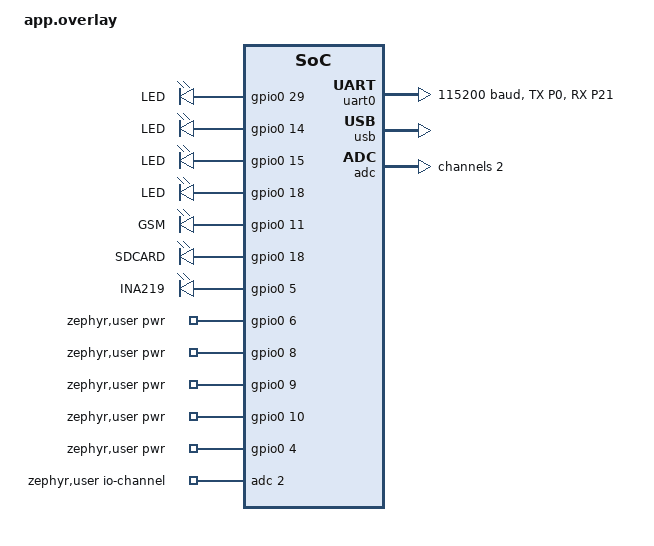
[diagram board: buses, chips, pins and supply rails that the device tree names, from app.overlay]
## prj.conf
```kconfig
# Copyright (c) 2022 Mr. Green's Workshop https://www.MrGreensWorkshop.com
# SPDX-License-Identifier: Apache-2.0

# Enable USB stack!!!!!!
# CONFIG_USB_DEVICE_STACK=y

# Enable USB Initialize at boot!!!!!!!
# CONFIG_USB_DEVICE_INITIALIZE_AT_BOOT=y

# USB device descriptors!!!!!!!!!!!
# CONFIG_USB_DEVICE_VID=0x2e8a
# CONFIG_USB_DEVICE_PID=0x000a
# CONFIG_USB_DEVICE_PRODUCT="Pico"
# CONFIG_USB_DEVICE_MANUFACTURER="Raspberry Pi"

# USB configuration descriptors
# To avoid draining the tablet's battery. PicoDRO is designed as a self-powered USB device.
# To do so, D1 is removed from the Raspberry Pi Pico and power is supplied from the VSYS pin.
# That's why, when using the PicoDRO hardware, it should be set as a self-powered USB device.

# Set to "n" for bus-powered devices (powered from the USB host) like the Raspberry Pi Pico.
# Set to "y" for self-powered devices (powered from an external power supply) like PicoDRO hardware.
# !!!!!!!!!
# CONFIG_USB_SELF_POWERED=y

# Depending on your hardware Maximum power consumption needs to be set.
# Set to "125" (250 mA) for the Raspberry Pi Pico (if there is no other external circuitry).
# Set to "1" (2 mA) for the PicoDRO hardware

# Maximum power consumption in 2 mA units
CONFIG_USB_MAX_POWER=250

# Copyright (c) 2022 Mr. Green's Workshop https://www.MrGreensWorkshop.com
# SPDX-License-Identifier: Apache-2.0

# Logging!!!!!!!!!!!
CONFIG_LOG=y
CONFIG_CONSOLE=y
CONFIG_SERIAL=y
CONFIG_EARLY_CONSOLE=y
# CONFIG_UART_CONSOLE=n

# Disable color codes on log output
CONFIG_LOG_BACKEND_SHOW_COLOR=y

# Set application log level
# CONFIG_MAIN_LOG_LEVEL_OFF=y   # Off
# CONFIG_MAIN_LOG_LEVEL_ERR=y   # Error
# CONFIG_MAIN_LOG_LEVEL_WRN=y   # Warning
# CONFIG_MAIN_LOG_LEVEL_INF=y   # Info
# CONFIG_MAIN_LOG_LEVEL_DBG=y

#CONFIG_LOG_DEFAULT_LEVEL=3

# Set USB log level
# CONFIG_USB_DRIVER_LOG_LEVEL_ERR=y
# CONFIG_USB_DEVICE_LOG_LEVEL_ERR=y

# Even before the USB serial port is opened at the host, log messages are pushed to the log buffer, then pushed to the USB CDC ACM ring buffer.
# This causes the ring buffer to overflow, and as a result, it adds a new log message saying the "Ring buffer full, drain buffer".
# It creates an endless loop that reproduces the same log message. This causes connection problems, like preventing the port from opening.
# Ring buffer full, drain buffer" log message still exists even if DTR line control is enabled. That's why we set the log level to error.
# Set USB CDC ACM log level
# CONFIG_USB_CDC_ACM_LOG_LEVEL_ERR=y

# Enable DTR line control for logging when using USB CDC ACM.
CONFIG_UART_LINE_CTRL=y

# Debugger
CONFIG_DEBUG=y
CONFIG_DEBUG_OPTIMIZATIONS=y

#CONFIG_FLASH=y
#CONFIG_FLASH_PAGE_LAYOUT=y
#CONFIG_FLASH_MAP=y

#CONFIG_SETTINGS=y
#CONFIG_SETTINGS_RUNTIME=y
#CONFIG_NVS=y
#CONFIG_SETTINGS_NVS=y

#CONFIG_FLASH_LOG_LEVEL_DBG=y
# !!!!!!!!!!
CONFIG_SERIAL=y
CONFIG_CONSOLE=y
CONFIG_LOG_MODE_IMMEDIATE=y
CONFIG_UART_CONSOLE=y
CONFIG_UART_LINE_CTRL=y

# CONFIG_ADC=y
# CONFIG_ADC_ASYNC=n
# CONFIG_HEAP_MEM_POOL_SIZE=4096

# CONFIG_RING_BUFFER=y
# CONFIG_UART_INTERRUPT_DRIVEN=y

# CONFIG_PM=y
# CONFIG_PM_DEVICE=n
# CONFIG_PM_DEVICE_RUNTIME=n
# CONFIG_HWINFO=y
# CONFIG_POWEROFF=y

CONFIG_REBOOT=y
```

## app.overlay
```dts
/ {
        chosen {
                zephyr,console = &uart0;
                // uart,passthrough = &uart0;
        };

        leds {
                compatible = "gpio-leds";
                led0: led_0 {
                        gpios = <&gpio0 29 GPIO_ACTIVE_HIGH>;
                        label = "LED";
                };
                led1: led_1 {
                        gpios = <&gpio0 14 GPIO_ACTIVE_HIGH>;
                        label = "LED";
                };
                led2: led_2 {
                        gpios = <&gpio0 15 GPIO_ACTIVE_HIGH>;
                        label = "LED";
                };
                ledold: ledold {
                        gpios = <&gpio0 18 GPIO_ACTIVE_HIGH>;
                        label = "LED";
                };
        };

        pwr_control {
                compatible = "gpio-leds";
                gsm: gsm {
                        gpios = <&gpio0 11 GPIO_ACTIVE_HIGH>;
                        label = "GSM";
                };
                sd: sd {
                        gpios = <&gpio0 18 GPIO_ACTIVE_HIGH>;
                        label = "SDCARD";
                };
                ina: ina {
                        gpios = <&gpio0 5 GPIO_ACTIVE_HIGH>;
                        label = "INA219";
                };
        };

        // wakeup {
                //         rtc_irq: rtc_irq {
                        //                 compatible = "wakeup";
                        //                 gpios = <&gpio0 25 GPIO_ACTIVE_LOW>;
                        //                 label = "RTCIRQ";
                //         };
        // };

        zephyr,user {
                io-channels = <&adc 2>;
                pwr-gpios = <&gpio0 6 GPIO_ACTIVE_HIGH>,
                            <&gpio0 8 GPIO_ACTIVE_HIGH>,
                            <&gpio0 9 GPIO_ACTIVE_HIGH>,
                            <&gpio0 10 GPIO_ACTIVE_HIGH>,
                            <&gpio0 4 GPIO_ACTIVE_HIGH>;
        };

        aliases {
                led0 = &led0;
                led1 = &led1;
                gsm = &gsm;
                ina = &ina;
                sd = &sd;
                clocks = &clocks;
                ledold = &ledold;
        };

};

// &rtc_irq {
        //         status = "okay";
        //         wakeup-source;
// };

&uart0 {
        current-speed = <115200>;
        status = "okay";
        pinctrl-0 = <&uart_log>;
        pinctrl-names = "default";
};

&pinctrl {
        uart_gsm: uart_gsm {
                group1 {
                        pinmux = <UART0_TX_P16>;
                };
                group2 {
                        pinmux = <UART0_RX_P17>;
                        input-enable;
                };
        };

        uart_log: uart_log {
                group1 {
                        pinmux = <UART0_TX_P0>;
                };
                group2 {
                        pinmux = <UART1_RX_P21>;
                        input-enable;
                };
        };
};

&zephyr_udc0 {
        usb: usb {
                compatible = "zephyr,cdc-acm-uart";
                label = "CDC_ACM_0";
        };
};

// &pico_header {
        //         status = "okay";
// };

&adc {
        #address-cells = <1>;
        #size-cells = <0>;

        channel@2 {
                reg = <2>;
                zephyr,gain = "ADC_GAIN_1";
                zephyr,reference = "ADC_REF_INTERNAL";
                zephyr,acquisition-time = <ADC_ACQ_TIME_DEFAULT>;
                zephyr,resolution = <12>;
        };
};
```

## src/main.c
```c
/*
 * Copyright (c) 2022 Mr. Green's Workshop https://www.MrGreensWorkshop.com
 *
 * SPDX-License-Identifier: Apache-2.0
 */

#include <zephyr/kernel.h>
#include <stdio.h>
#include <zephyr/drivers/uart.h>
#include <zephyr/sys/ring_buffer.h>
#include <zephyr/drivers/gpio.h>
#include <inttypes.h>
#include <stddef.h>
#include <stdint.h>

#include <zephyr/device.h>
#include <zephyr/devicetree.h>
#include <zephyr/drivers/adc.h>
#include <zephyr/sys/printk.h>
#include <zephyr/sys/util.h>
#include <zephyr/logging/log.h>
#include <zephyr/pm/pm.h>
#include <zephyr/drivers/clock_control.h>

#include <hardware/clocks.h>
#include <hardware/xosc.h>
#include <hardware/structs/rosc.h>
#include <hardware/pll.h>
#include <hardware/watchdog.h>
#include <hardware/resets.h>

#include "sleep.h"
#include "gpio.h"
#include "stdio.h"

/* The devicetree node identifier for the "led0" alias. */
#define LED0_NODE DT_ALIAS(led0)
#define CLK_NODE DT_ALIAS(clocks)

static const struct gpio_dt_spec led0 = GPIO_DT_SPEC_GET(LED0_NODE, gpios);
static const struct device *const dev = DEVICE_DT_GET(CLK_NODE);

static uint scb_orig;
static uint clock0_orig;
static uint clock1_orig;
static uint syscfg_hw_orig;

void recover_from_sleep(uint scb_orig, uint clock0_orig, uint clock1_orig)
{

    // syscfg_hw->mempowerdown = syscfg_hw_orig;

    // Re-enable ring Oscillator control
    rosc_write(&rosc_hw->ctrl, ROSC_CTRL_ENABLE_BITS);

    // reset procs back to default
    scb_hw->scr = scb_orig;
    clocks_hw->sleep_en0 = clock0_orig;
    clocks_hw->sleep_en1 = clock1_orig;

    // reset clocks
    clocks_init();

    if (!gpio_is_ready_dt(&led0))
    {
        return 0;
    }

    int ret;
    ret = gpio_pin_configure_dt(&led0, GPIO_OUTPUT_ACTIVE);
    if (ret < 0)
    {
        return 0;
    }
    // stdio_init_all();
    // i2c_init(i2c1, 100 * 1000);
    // gpio_set_function(PICO__SDA_PIN, GPIO_FUNC_I2C);
    // gpio_set_function(PICO__SCL_PIN, GPIO_FUNC_I2C);
    // bi_decl(bi_2pins_with_func(PICO__SDA_PIN, PICO__SCL_PIN, GPIO_FUNC_I2C));
    gpio_init(26);
    gpio_set_dir(26, GPIO_IN);
    gpio_set_input_hysteresis_enabled(0, 0);
    gpio_pull_up(26);

    return;
}

int main(void)
{
    int ret;
    bool led_state = true;

    if (!gpio_is_ready_dt(&led0))
    {
        return 0;
    }

    ret = gpio_pin_configure_dt(&led0, GPIO_OUTPUT_ACTIVE);
    if (ret < 0)
    {
        return 0;
    }

    ret = gpio_pin_toggle_dt(&led0);
    if (ret < 0)
    {
        return 0;
    }
    k_sleep(K_MSEC(125));
    ret = gpio_pin_toggle_dt(&led0);
    if (ret < 0)
    {
        return 0;
    }
    k_sleep(K_MSEC(125));
    ret = gpio_pin_toggle_dt(&led0);
    if (ret < 0)
    {
        return 0;
    }
    k_sleep(K_MSEC(125));
    ret = gpio_pin_toggle_dt(&led0);
    if (ret < 0)
    {
        return 0;
    }
    k_sleep(K_MSEC(125));
    ret = gpio_pin_toggle_dt(&led0);
    if (ret < 0)
    {
        return 0;
    }
    k_sleep(K_MSEC(125));
    ret = gpio_pin_toggle_dt(&led0);
    if (ret < 0)
    {
        return 0;
    }
    k_sleep(K_MSEC(125));

    gpio_init(26);
    gpio_set_dir(26, GPIO_IN);
    gpio_set_input_hysteresis_enabled(0, 0);
    gpio_pull_up(26);

    while (1)
    {
        led_state = !led_state;
        printf("LED state: %s\n", led_state ? "ON" : "OFF");

        enum clock_control_status clkstat;
        clkstat = clock_control_get_status(dev, 5);

        uint32_t rate = 0U;
        clock_control_get_rate(dev, 5, &rate);

        printf("Clock state: %i, %u\n", clkstat, rate);

        k_sleep(K_MSEC(250));

        ret = gpio_pin_toggle_dt(&led0);
        if (ret < 0)
        {
            return 0;
        }

        k_sleep(K_MSEC(250));

        scb_orig = scb_hw->scr;
        clock0_orig = clocks_hw->sleep_en0;
        clock1_orig = clocks_hw->sleep_en1;

        sleep_run_from_rosc();
        sleep_goto_dormant_until_pin(26, GPIO_IRQ_EDGE_FALL, false);
        recover_from_sleep(scb_orig, clock0_orig, clock1_orig);
    }

    return 0;
}

void k_sys_fatal_error_handler(unsigned int reason,
                               const z_arch_esf_t *esf)
{
    ARG_UNUSED(esf);
    ARG_UNUSED(reason);

    sys_reboot(1);
    CODE_UNREACHABLE;
}
```

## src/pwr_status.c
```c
/* main.c - Synchronization demo */

/*
 * Copyright (c) 2012-2014 Wind River Systems, Inc.
 *
 * SPDX-License-Identifier: Apache-2.0
 */
#include <zephyr/kernel.h>
#include <zephyr/sys/printk.h>

/*
 * The synchronization demo has two threads that utilize semaphores and sleeping
 * to take turns printing a greeting message at a controlled rate. The demo
 * shows both the static and dynamic approaches for spawning a thread; a real
 * world application would likely use the static approach for both threads.
 */

#define PIN_THREADS (IS_ENABLED(CONFIG_SMP) && IS_ENABLED(CONFIG_SCHED_CPU_MASK))

/* size of stack area used by each thread */
#define STACKSIZE 1024

/* scheduling priority used by each thread */
#define PRIORITY 7

/* delay between greetings (in ms) */
#define SLEEPTIME 1000

/*
 * @param my_name      thread identification string
 * @param my_sem       thread's own semaphore
 * @param other_sem    other thread's semaphore
 */
void hello_loop(const char *my_name,
                struct k_sem *my_sem, struct k_sem *other_sem)
{
    const char *tname;
    uint8_t cpu;
    struct k_thread *current_thread;

    while (1)
    {
        /* take my semaphore */
        k_sem_take(my_sem, K_FOREVER);

        current_thread = k_current_get();
        tname = k_thread_name_get(current_thread);
#if CONFIG_SMP
        cpu = arch_curr_cpu()->id;
#else
        cpu = 0;
#endif
        /* say "hello" */
        if (tname == NULL)
        {
            printk("%s: Hello World from cpu %d on %s!\n",
                   my_name, cpu, CONFIG_BOARD);
        }
        else
        {
            printk("%s: Hello World from cpu %d on %s!\n",
                   tname, cpu, CONFIG_BOARD);
        }

        /* wait a while, then let other thread have a turn */
        k_busy_wait(100000);
        k_msleep(SLEEPTIME);
        k_sem_give(other_sem);
    }
}

/* define semaphores */
K_SEM_DEFINE(thread_a_sem, 1, 1); /* starts off "available" */
K_SEM_DEFINE(thread_b_sem, 0, 1); /* starts off "not available" */

/* thread_a is a dynamic thread that is spawned in main */
void thread_a_entry_point(void *dummy1, void *dummy2, void *dummy3)
{
    ARG_UNUSED(dummy1);
    ARG_UNUSED(dummy2);
    ARG_UNUSED(dummy3);

    /* invoke routine to ping-pong hello messages with thread_b */
    hello_loop(__func__, &thread_a_sem, &thread_b_sem);
}
K_THREAD_STACK_DEFINE(thread_a_stack_area, STACKSIZE);
struct k_thread thread_a_data;

/* thread_b is a static thread spawned immediately */
void thread_b_entry_point(void *dummy1, void *dummy2, void *dummy3)
{
    ARG_UNUSED(dummy1);
    ARG_UNUSED(dummy2);
    ARG_UNUSED(dummy3);

    /* invoke routine to ping-pong hello messages with thread_a */
    hello_loop(__func__, &thread_b_sem, &thread_a_sem);
}

K_THREAD_DEFINE(thread_b, STACKSIZE,
                thread_b_entry_point, NULL, NULL, NULL,
                PRIORITY, 0, 0);
extern const k_tid_t thread_b;
```

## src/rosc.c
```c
/*
 * Copyright (c) 2020 Raspberry Pi (Trading) Ltd.
 *
 * SPDX-License-Identifier: BSD-3-Clause
 */

#include "pico.h"

// For MHZ definitions etc
#include "clocks.h"
#include "rosc.h"

// Given a ROSC delay stage code, return the next-numerically-higher code.
// Top result bit is set when called on maximum ROSC code.
uint32_t next_rosc_code(uint32_t code)
{
    return ((code | 0x08888888u) + 1u) & 0xf7777777u;
}

uint rosc_find_freq(uint32_t low_mhz, uint32_t high_mhz)
{
    // TODO: This could be a lot better
    rosc_set_div(1);
    for (uint32_t code = 0; code <= 0x77777777u; code = next_rosc_code(code))
    {
        rosc_set_freq(code);
        uint rosc_mhz = frequency_count_khz(CLOCKS_FC0_SRC_VALUE_ROSC_CLKSRC) / 1000;
        if ((rosc_mhz >= low_mhz) && (rosc_mhz <= high_mhz))
        {
            return rosc_mhz;
        }
    }
    return 0;
}

void rosc_set_div(uint32_t div)
{
    assert(div <= 31 && div >= 1);
    rosc_write(&rosc_hw->div, ROSC_DIV_VALUE_PASS + div);
}

void rosc_set_freq(uint32_t code)
{
    rosc_write(&rosc_hw->freqa, (ROSC_FREQA_PASSWD_VALUE_PASS << ROSC_FREQA_PASSWD_LSB) | (code & 0xffffu));
    rosc_write(&rosc_hw->freqb, (ROSC_FREQA_PASSWD_VALUE_PASS << ROSC_FREQA_PASSWD_LSB) | (code >> 16u));
}

void rosc_set_range(uint range)
{
    // Range should use enumvals from the headers and thus have the password correct
    rosc_write(&rosc_hw->ctrl, (ROSC_CTRL_ENABLE_VALUE_ENABLE << ROSC_CTRL_ENABLE_LSB) | range);
}

void rosc_disable(void)
{
    uint32_t tmp = rosc_hw->ctrl;
    tmp &= (~ROSC_CTRL_ENABLE_BITS);
    tmp |= (ROSC_CTRL_ENABLE_VALUE_DISABLE << ROSC_CTRL_ENABLE_LSB);
    rosc_write(&rosc_hw->ctrl, tmp);
    // Wait for stable to go away
    while (rosc_hw->status & ROSC_STATUS_STABLE_BITS)
        ;
}

void rosc_set_dormant(void)
{
    // WARNING: This stops the rosc until woken up by an irq
    rosc_write(&rosc_hw->dormant, ROSC_DORMANT_VALUE_DORMANT);
    // Wait for it to become stable once woken up
    while (!(rosc_hw->status & ROSC_STATUS_STABLE_BITS))
        ;
}
```

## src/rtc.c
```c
/*
 * Copyright (c) 2020 Raspberry Pi (Trading) Ltd.
 *
 * SPDX-License-Identifier: BSD-3-Clause
 */

#include "pico.h"

#include "hardware/irq.h"
#include "rtc.h"
#include "hardware/resets.h"
#include "clocks.h"

// Set this when setting an alarm
static rtc_callback_t _callback = NULL;
static bool _alarm_repeats = false;

bool rtc_running(void)
{
    return (rtc_hw->ctrl & RTC_CTRL_RTC_ACTIVE_BITS);
}

void rtc_init(void)
{
    // Get clk_rtc freq and make sure it is running
    uint rtc_freq = clock_get_hz(clk_rtc);
    assert(rtc_freq != 0);

    // Take rtc out of reset now that we know clk_rtc is running
    reset_block(RESETS_RESET_RTC_BITS);
    unreset_block_wait(RESETS_RESET_RTC_BITS);

    // Set up the 1 second divider.
    // If rtc_freq is 400 then clkdiv_m1 should be 399
    rtc_freq -= 1;

    // Check the freq is not too big to divide
    assert(rtc_freq <= RTC_CLKDIV_M1_BITS);

    // Write divide value
    rtc_hw->clkdiv_m1 = rtc_freq;
}

static bool valid_datetime(datetime_t *t)
{
    // Valid ranges taken from RTC doc. Note when setting an RTC alarm
    // these values are allowed to be -1 to say "don't match this value"
    if (!(t->year >= 0 && t->year <= 4095))
        return false;
    if (!(t->month >= 1 && t->month <= 12))
        return false;
    if (!(t->day >= 1 && t->day <= 31))
        return false;
    if (!(t->dotw >= 0 && t->dotw <= 6))
        return false;
    if (!(t->hour >= 0 && t->hour <= 23))
        return false;
    if (!(t->min >= 0 && t->min <= 59))
        return false;
    if (!(t->sec >= 0 && t->sec <= 59))
        return false;
    return true;
}

bool rtc_set_datetime(datetime_t *t)
{
    if (!valid_datetime(t))
    {
        return false;
    }

    // Disable RTC
    rtc_hw->ctrl = 0;
    // Wait while it is still active
    while (rtc_running())
    {
        tight_loop_contents();
    }

    // Write to setup registers
    rtc_hw->setup_0 = (((uint32_t)t->year) << RTC_SETUP_0_YEAR_LSB) |
                      (((uint32_t)t->month) << RTC_SETUP_0_MONTH_LSB) |
                      (((uint32_t)t->day) << RTC_SETUP_0_DAY_LSB);
    rtc_hw->setup_1 = (((uint32_t)t->dotw) << RTC_SETUP_1_DOTW_LSB) |
                      (((uint32_t)t->hour) << RTC_SETUP_1_HOUR_LSB) |
                      (((uint32_t)t->min) << RTC_SETUP_1_MIN_LSB) |
                      (((uint32_t)t->sec) << RTC_SETUP_1_SEC_LSB);

    // Load setup values into rtc clock domain
    rtc_hw->ctrl = RTC_CTRL_LOAD_BITS;

    // Enable RTC and wait for it to be running
    rtc_hw->ctrl = RTC_CTRL_RTC_ENABLE_BITS;
    while (!rtc_running())
    {
        tight_loop_contents();
    }

    return true;
}

bool rtc_get_datetime(datetime_t *t)
{
    // Make sure RTC is running
    if (!rtc_running())
    {
        return false;
    }

    // Note: RTC_0 should be read before RTC_1
    uint32_t rtc_0 = rtc_hw->rtc_0;
    uint32_t rtc_1 = rtc_hw->rtc_1;

    t->dotw = (int8_t)((rtc_0 & RTC_RTC_0_DOTW_BITS) >> RTC_RTC_0_DOTW_LSB);
    t->hour = (int8_t)((rtc_0 & RTC_RTC_0_HOUR_BITS) >> RTC_RTC_0_HOUR_LSB);
    t->min = (int8_t)((rtc_0 & RTC_RTC_0_MIN_BITS) >> RTC_RTC_0_MIN_LSB);
    t->sec = (int8_t)((rtc_0 & RTC_RTC_0_SEC_BITS) >> RTC_RTC_0_SEC_LSB);
    t->year = (int16_t)((rtc_1 & RTC_RTC_1_YEAR_BITS) >> RTC_RTC_1_YEAR_LSB);
    t->month = (int8_t)((rtc_1 & RTC_RTC_1_MONTH_BITS) >> RTC_RTC_1_MONTH_LSB);
    t->day = (int8_t)((rtc_1 & RTC_RTC_1_DAY_BITS) >> RTC_RTC_1_DAY_LSB);

    return true;
}

void rtc_enable_alarm(void)
{
    // Set matching and wait for it to be enabled
    hw_set_bits(&rtc_hw->irq_setup_0, RTC_IRQ_SETUP_0_MATCH_ENA_BITS);
    while (!(rtc_hw->irq_setup_0 & RTC_IRQ_SETUP_0_MATCH_ACTIVE_BITS))
    {
        tight_loop_contents();
    }
}

static void rtc_irq_handler(void)
{
    // Always disable the alarm to clear the current IRQ.
    // Even if it is a repeatable alarm, we don't want it to keep firing.
    // If it matches on a second it can keep firing for that second.
    rtc_disable_alarm();

    if (_alarm_repeats)
    {
        // If it is a repeatable alarm, re enable the alarm.
        rtc_enable_alarm();
    }

    // Call user callback function
    if (_callback)
    {
        _callback();
    }
}

static bool rtc_alarm_repeats(datetime_t *t)
{
    // If any value is set to -1 then we don't match on that value
    // hence the alarm will eventually repeat
    if (t->year < 0)
        return true;
    if (t->month < 0)
        return true;
    if (t->day < 0)
        return true;
    if (t->dotw < 0)
        return true;
    if (t->hour < 0)
        return true;
    if (t->min < 0)
        return true;
    if (t->sec < 0)
        return true;
    return false;
}

void rtc_set_alarm(datetime_t *t, rtc_callback_t user_callback)
{
    rtc_disable_alarm();

    // Only add to setup if it isn't -1
    rtc_hw->irq_setup_0 = ((t->year < 0) ? 0 : (((uint32_t)t->year) << RTC_IRQ_SETUP_0_YEAR_LSB)) |
                          ((t->month < 0) ? 0 : (((uint32_t)t->month) << RTC_IRQ_SETUP_0_MONTH_LSB)) |
                          ((t->day < 0) ? 0 : (((uint32_t)t->day) << RTC_IRQ_SETUP_0_DAY_LSB));
    rtc_hw->irq_setup_1 = ((t->dotw < 0) ? 0 : (((uint32_t)t->dotw) << RTC_IRQ_SETUP_1_DOTW_LSB)) |
                          ((t->hour < 0) ? 0 : (((uint32_t)t->hour) << RTC_IRQ_SETUP_1_HOUR_LSB)) |
                          ((t->min < 0) ? 0 : (((uint32_t)t->min) << RTC_IRQ_SETUP_1_MIN_LSB)) |
                          ((t->sec < 0) ? 0 : (((uint32_t)t->sec) << RTC_IRQ_SETUP_1_SEC_LSB));

    // Set the match enable bits for things we care about
    if (t->year >= 0)
        hw_set_bits(&rtc_hw->irq_setup_0, RTC_IRQ_SETUP_0_YEAR_ENA_BITS);
    if (t->month >= 0)
        hw_set_bits(&rtc_hw->irq_setup_0, RTC_IRQ_SETUP_0_MONTH_ENA_BITS);
    if (t->day >= 0)
        hw_set_bits(&rtc_hw->irq_setup_0, RTC_IRQ_SETUP_0_DAY_ENA_BITS);
    if (t->dotw >= 0)
        hw_set_bits(&rtc_hw->irq_setup_1, RTC_IRQ_SETUP_1_DOTW_ENA_BITS);
    if (t->hour >= 0)
        hw_set_bits(&rtc_hw->irq_setup_1, RTC_IRQ_SETUP_1_HOUR_ENA_BITS);
    if (t->min >= 0)
        hw_set_bits(&rtc_hw->irq_setup_1, RTC_IRQ_SETUP_1_MIN_ENA_BITS);
    if (t->sec >= 0)
        hw_set_bits(&rtc_hw->irq_setup_1, RTC_IRQ_SETUP_1_SEC_ENA_BITS);

    // Does it repeat? I.e. do we not match on any of the bits
    _alarm_repeats = rtc_alarm_repeats(t);

    // Store function pointer we can call later
    _callback = user_callback;

    irq_set_exclusive_handler(RTC_IRQ, rtc_irq_handler);

    // Enable the IRQ at the peri
    rtc_hw->inte = RTC_INTE_RTC_BITS;

    // Enable the IRQ at the proc
    irq_set_enabled(RTC_IRQ, true);

    rtc_enable_alarm();
}

void rtc_disable_alarm(void)
{
    // Disable matching and wait for it to stop being active
    hw_clear_bits(&rtc_hw->irq_setup_0, RTC_IRQ_SETUP_0_MATCH_ENA_BITS);
    while (rtc_hw->irq_setup_0 & RTC_IRQ_SETUP_0_MATCH_ACTIVE_BITS)
    {
        tight_loop_contents();
    }
}
```

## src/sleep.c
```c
/*
 * Copyright (c) 2020 Raspberry Pi (Trading) Ltd.
 *
 * SPDX-License-Identifier: BSD-3-Clause
 */

#include "pico.h"

#include <stdint.h>
#include "sleep.h"

// The difference between sleep and dormant is that ALL clocks are stopped in dormant mode,
// until the source (either xosc or rosc) is started again by an external event.
// In sleep mode some clocks can be left running controlled by the SLEEP_EN registers in the clocks
// block. For example you could keep clk_rtc running. Some destinations (proc0 and proc1 wakeup logic)
// can't be stopped in sleep mode otherwise there wouldn't be enough logic to wake up again.

// TODO: Optionally, memories can also be powered down.

static dormant_source_t _dormant_source;

bool dormant_source_valid(dormant_source_t dormant_source)
{
    return (dormant_source == DORMANT_SOURCE_XOSC) || (dormant_source == DORMANT_SOURCE_ROSC);
}

// In order to go into dormant mode we need to be running from a stoppable clock source:
// either the xosc or rosc with no PLLs running. This means we disable the USB and ADC clocks
// and all PLLs
void sleep_run_from_dormant_source(dormant_source_t dormant_source)
{
    assert(dormant_source_valid(dormant_source));
    _dormant_source = dormant_source;

    // FIXME: Just defining average rosc freq here.
    uint src_hz = (dormant_source == DORMANT_SOURCE_XOSC) ? XOSC_MHZ * 1000000 : 1.8 * 1000000;
    uint clk_ref_src = (dormant_source == DORMANT_SOURCE_XOSC) ? CLOCKS_CLK_REF_CTRL_SRC_VALUE_XOSC_CLKSRC : CLOCKS_CLK_REF_CTRL_SRC_VALUE_ROSC_CLKSRC_PH;

    // CLK_REF = XOSC or ROSC
    clock_configure(clk_ref,
                    clk_ref_src,
                    0, // No aux mux
                    src_hz,
                    src_hz);

    // CLK SYS = CLK_REF
    clock_configure(clk_sys,
                    CLOCKS_CLK_SYS_CTRL_SRC_VALUE_CLK_REF,
                    0, // Using glitchless mux
                    src_hz,
                    src_hz);

    // CLK USB = 01000000
    clock_stop(clk_usb);

    // CLK ADC = 01000000
    clock_stop(clk_adc);

    // CLK RTC = ideally XOSC (121000000) / 256 = 46875Hz but could be rosc
    uint clk_rtc_src = (dormant_source == DORMANT_SOURCE_XOSC) ? CLOCKS_CLK_RTC_CTRL_AUXSRC_VALUE_XOSC_CLKSRC : CLOCKS_CLK_RTC_CTRL_AUXSRC_VALUE_ROSC_CLKSRC_PH;

    clock_configure(clk_rtc,
                    0, // No GLMUX
                    clk_rtc_src,
                    src_hz,
                    46875);

    // CLK PERI = clk_sys. Used as reference clock for Peripherals. No dividers so just select and enable
    clock_configure(clk_peri,
                    0,
                    CLOCKS_CLK_PERI_CTRL_AUXSRC_VALUE_CLK_SYS,
                    src_hz,
                    src_hz);

    pll_deinit(pll_sys);
    pll_deinit(pll_usb);

    // Assuming both xosc and rosc are running at the moment
    if (dormant_source == DORMANT_SOURCE_XOSC)
    {
        // Can disable rosc
        rosc_disable();
    }
    else
    {
        // Can disable xosc
        xosc_disable();
    }

    // Reconfigure uart with new clocks
    // setup_default_uart();
}

// Go to sleep until woken up by the RTC
void sleep_goto_sleep_until(datetime_t *t, rtc_callback_t callback)
{
    // We should have already called the sleep_run_from_dormant_source function
    assert(dormant_source_valid(_dormant_source));

    // Turn off all clocks when in sleep mode except for RTC
    clocks_hw->sleep_en0 = CLOCKS_SLEEP_EN0_CLK_RTC_RTC_BITS;
    clocks_hw->sleep_en1 = 0x0;

    rtc_set_alarm(t, callback);

    uint save = scb_hw->scr;
    // Enable deep sleep at the proc
    scb_hw->scr = save | M0PLUS_SCR_SLEEPDEEP_BITS;

    // Go to sleep
    __wfi();
}

static void _go_dormant(void)
{
    assert(dormant_source_valid(_dormant_source));

    if (_dormant_source == DORMANT_SOURCE_XOSC)
    {
        xosc_dormant();
    }
    else
    {
        rosc_set_dormant();
    }
}

void sleep_goto_dormant_until_pin(uint gpio_pin, bool edge, bool high)
{
    bool low = !high;
    bool level = !edge;

    // Configure the appropriate IRQ at IO bank 0
    assert(gpio_pin < NUM_BANK0_GPIOS);

    uint32_t event = 0;

    if (level && low)
        event = IO_BANK0_DORMANT_WAKE_INTE0_GPIO0_LEVEL_LOW_BITS;
    if (level && high)
        event = IO_BANK0_DORMANT_WAKE_INTE0_GPIO0_LEVEL_HIGH_BITS;
    if (edge && high)
        event = IO_BANK0_DORMANT_WAKE_INTE0_GPIO0_EDGE_HIGH_BITS;
    if (edge && low)
        event = IO_BANK0_DORMANT_WAKE_INTE0_GPIO0_EDGE_LOW_BITS;

    gpio_set_dormant_irq_enabled(gpio_pin, event, true);

    _go_dormant();
    // Execution stops here until woken up

    // Clear the irq so we can go back to dormant mode again if we want
    gpio_acknowledge_irq(gpio_pin, event);
}
```

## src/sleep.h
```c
/*
 * Copyright (c) 2020 Raspberry Pi (Trading) Ltd.
 *
 * SPDX-License-Identifier: BSD-3-Clause
 */

#ifndef _PICO_SLEEP_H_
#define _PICO_SLEEP_H_

#include "pico.h"
#include "rtc.h"
#include "pll.h"
#include "clocks.h"
#include "xosc.h"
#include "rosc.h"

#include "hardware/regs/io_bank0.h"
// For __wfi
#include "hardware/sync.h"
// For scb_hw so we can enable deep sleep
#include "hardware/structs/scb.h"

#ifdef __cplusplus
extern "C"
{
#endif

    /** \file sleep.h
     *  \defgroup hardware_sleep hardware_sleep
     *
     * Lower Power Sleep API
     *
     * The difference between sleep and dormant is that ALL clocks are stopped in dormant mode,
     * until the source (either xosc or rosc) is started again by an external event.
     * In sleep mode some clocks can be left running controlled by the SLEEP_EN registers in the clocks
     * block. For example you could keep clk_rtc running. Some destinations (proc0 and proc1 wakeup logic)
     * can't be stopped in sleep mode otherwise there wouldn't be enough logic to wake up again.
     *
     * \subsection sleep_example Example
     * \addtogroup hardware_sleep
     * \include hello_sleep.c

     */
    typedef enum
    {
        DORMANT_SOURCE_NONE,
        DORMANT_SOURCE_XOSC,
        DORMANT_SOURCE_ROSC
    } dormant_source_t;

    /*! \brief Set all clock sources to the the dormant clock source to prepare for sleep.
     *  \ingroup hardware_sleep
     *
     * \param dormant_source The dormant clock source to use
     */
    void sleep_run_from_dormant_source(dormant_source_t dormant_source);

    /*! \brief Set the dormant clock source to be the crystal oscillator
     *  \ingroup hardware_sleep
     */
    static inline void sleep_run_from_xosc(void)
    {
        sleep_run_from_dormant_source(DORMANT_SOURCE_XOSC);
    }

    /*! \brief Set the dormant clock source to be the ring oscillator
     *  \ingroup hardware_sleep
     */
    static inline void sleep_run_from_rosc(void)
    {
        sleep_run_from_dormant_source(DORMANT_SOURCE_ROSC);
    }

    /*! \brief Send system to sleep until the specified time
     *  \ingroup hardware_sleep
     *
     * One of the sleep_run_* functions must be called prior to this call
     *
     * \param t The time to wake up
     * \param callback Function to call on wakeup.
     */
    void sleep_goto_sleep_until(datetime_t *t, rtc_callback_t callback);

    /*! \brief Send system to sleep until the specified GPIO changes
     *  \ingroup hardware_sleep
     *
     * One of the sleep_run_* functions must be called prior to this call
     *
     * \param gpio_pin The pin to provide the wake up
     * \param edge true for leading edge, false for trailing edge
     * \param high true for active high, false for active low
     */
    void sleep_goto_dormant_until_pin(uint gpio_pin, bool edge, bool high);

    /*! \brief Send system to sleep until a leading high edge is detected on GPIO
     *  \ingroup hardware_sleep
     *
     * One of the sleep_run_* functions must be called prior to this call
     *
     * \param gpio_pin The pin to provide the wake up
     */
    static inline void sleep_goto_dormant_until_edge_high(uint gpio_pin)
    {
        sleep_goto_dormant_until_pin(gpio_pin, true, true);
    }

    /*! \brief Send system to sleep until a high level is detected on GPIO
     *  \ingroup hardware_sleep
     *
     * One of the sleep_run_* functions must be called prior to this call
     *
     * \param gpio_pin The pin to provide the wake up
     */
    static inline void sleep_goto_dormant_until_level_high(uint gpio_pin)
    {
        sleep_goto_dormant_until_pin(gpio_pin, false, true);
    }

#ifdef __cplusplus
}
#endif

#endif
```

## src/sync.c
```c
/*
 * Copyright (c) 2020 Raspberry Pi (Trading) Ltd.
 *
 * SPDX-License-Identifier: BSD-3-Clause
 */

#include "sync.h"
#include "claim.h"

static_assert(PICO_SPINLOCK_ID_STRIPED_LAST >= PICO_SPINLOCK_ID_STRIPED_FIRST, "");
static uint8_t striped_spin_lock_num = PICO_SPINLOCK_ID_STRIPED_FIRST;
static uint32_t claimed;

static void check_lock_num(uint __unused lock_num)
{
    invalid_params_if(SYNC, lock_num >= 32);
}

void spin_locks_reset(void)
{
    for (uint i = 0; i < NUM_SPIN_LOCKS; i++)
    {
        spin_unlock_unsafe(spin_lock_instance(i));
    }
}

spin_lock_t *spin_lock_init(uint lock_num)
{
    assert(lock_num < NUM_SPIN_LOCKS);
    spin_lock_t *lock = spin_lock_instance(lock_num);
    spin_unlock_unsafe(lock);
    return lock;
}

uint next_striped_spin_lock_num()
{
    uint rc = striped_spin_lock_num++;
    if (striped_spin_lock_num > PICO_SPINLOCK_ID_STRIPED_LAST)
    {
        striped_spin_lock_num = PICO_SPINLOCK_ID_STRIPED_FIRST;
    }
    return rc;
}

void spin_lock_claim(uint lock_num)
{
    check_lock_num(lock_num);
    hw_claim_or_assert((uint8_t *)&claimed, lock_num, "Spinlock %d is already claimed");
}

void spin_lock_claim_mask(uint32_t mask)
{
    for (uint i = 0; mask; i++, mask >>= 1u)
    {
        if (mask & 1u)
            spin_lock_claim(i);
    }
}

void spin_lock_unclaim(uint lock_num)
{
    check_lock_num(lock_num);
    spin_unlock_unsafe(spin_lock_instance(lock_num));
    hw_claim_clear((uint8_t *)&claimed, lock_num);
}

int spin_lock_claim_unused(bool required)
{
    return hw_claim_unused_from_range((uint8_t *)&claimed, required, PICO_SPINLOCK_ID_CLAIM_FREE_FIRST, PICO_SPINLOCK_ID_CLAIM_FREE_LAST, "No spinlocks are available");
}

bool spin_lock_is_claimed(uint lock_num)
{
    check_lock_num(lock_num);
    return hw_is_claimed((uint8_t *)&claimed, lock_num);
}
```
